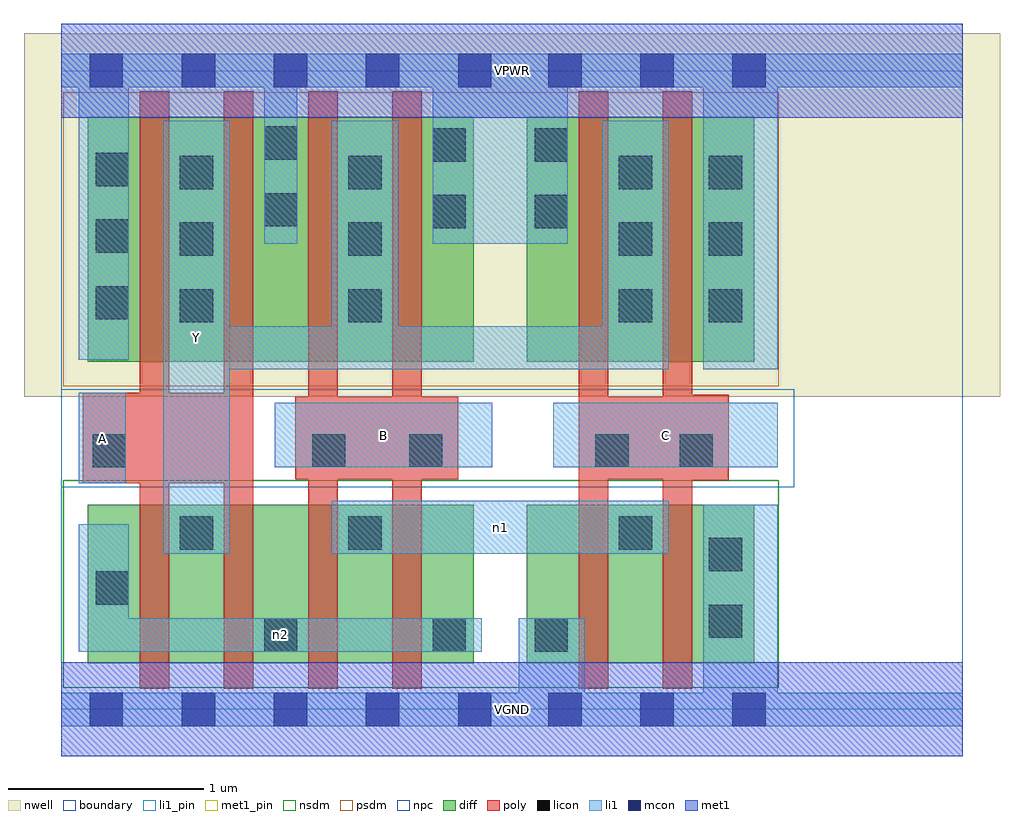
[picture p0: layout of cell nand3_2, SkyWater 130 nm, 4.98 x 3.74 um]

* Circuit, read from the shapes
.subckt nand3_2 A B C VGND VPWR Y n1 n2
XM1 Y A n2 VSUBS sky130_fd_pr__nfet_01v8 w=0.81 l=0.15 m=2
XM2 n1 B n2 VSUBS sky130_fd_pr__nfet_01v8 w=0.81 l=0.15 m=2
XM3 n1 C VGND VSUBS sky130_fd_pr__nfet_01v8 w=0.81 l=0.15 m=2
XM4 Y A VPWR n3 sky130_fd_pr__pfet_01v8 w=1.25 l=0.15 m=2
XM5 Y B VPWR n3 sky130_fd_pr__pfet_01v8 w=1.25 l=0.15 m=2
XM6 Y C VPWR n3 sky130_fd_pr__pfet_01v8 w=1.25 l=0.15 m=2
.ends

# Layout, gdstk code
import gdstk
lib = gdstk.Library(unit=1e-6, precision=1e-09)
def R(c, l, rs):  # rectangles x0, y0, x1, y1
    for r in rs: c.add(gdstk.rectangle(r[:2], r[2:], *l))
def A(c, l, x, y, w, h, nx, ny, dx, dy):  # array of equal rectangles
    R(c, l, [(x+i*dx, y+j*dy, x+i*dx+w, y+j*dy+h) for i in range(nx) for j in range(ny)])
nwell = (64, 20)
diff = (65, 20)
poly = (66, 20)
licon = (66, 44)
li1_pin = (67, 16)
li1 = (67, 20)
mcon = (67, 44)
met1_pin = (68, 16)
met1 = (68, 20)
nsdm = (93, 44)
psdm = (94, 20)
npc = (95, 20)
boundary = (235, 4)

nand3_2 = lib.new_cell('nand3_2')
R(nand3_2, nwell, [(-0.19,1.595,4.79,3.45), (0,1.595,4.6,3.45)])
R(nand3_2, diff, [(0.135,0.235,2.105,1.045), (2.375,0.235,3.535,1.045), (0.135,1.775,2.105,3.025), (2.375,1.775,3.535,3.025)])
A(nand3_2, poly, 0.4, 0.105, 0.15, 3.05, 4, 1, 0.43, 0)
R(nand3_2, poly, [(2.64,0.105,2.79,3.155), (3.07,0.105,3.22,3.155), (0.11,1.155,0.98,1.615), (3.07,1.17,3.405,1.605), (1.195,1.175,2.025,1.595), (2.64,1.175,3.405,1.595)])
A(nand3_2, licon, 0.605, 1.975, 0.17, 0.17, 1, 3, 0, 0.34)
A(nand3_2, licon, 1.465, 1.975, 0.17, 0.17, 1, 3, 0, 0.34)
A(nand3_2, licon, 2.845, 1.975, 0.17, 0.17, 1, 3, 0, 0.34)
A(nand3_2, licon, 3.305, 1.975, 0.17, 0.17, 1, 3, 0, 0.34)
A(nand3_2, licon, 0.175, 1.99, 0.17, 0.17, 1, 3, 0, 0.34)
R(nand3_2, licon, [(1.035,0.295,1.205,0.465), (1.895,0.295,2.065,0.465), (2.415,0.295,2.585,0.465), (3.305,0.365,3.475,0.535), (0.175,0.535,0.345,0.705), (3.305,0.705,3.475,0.875), (0.605,0.815,0.775,0.985), (1.465,0.815,1.635,0.985), (2.845,0.815,3.015,0.985), (0.16,1.235,0.33,1.405), (1.28,1.235,1.45,1.405), (1.775,1.235,1.945,1.405), (2.725,1.235,2.895,1.405), (3.155,1.235,3.325,1.405), (1.895,2.455,2.065,2.625), (2.415,2.455,2.585,2.625), (1.035,2.465,1.205,2.635), (1.895,2.795,2.065,2.965), (2.415,2.795,2.585,2.965), (1.035,2.805,1.205,2.975)])
R(nand3_2, li1_pin, [(0.52,0.795,0.86,3.005), (0.09,1.155,0.33,1.615), (1.09,1.235,2.2,1.565), (2.51,1.235,3.655,1.565)])
R(nand3_2, li1, [(0,-0.085,4.6,0.085), (2.335,-0.085,2.67,0.465), (3.275,-0.085,3.655,1.045), (0.09,0.295,2.145,0.465), (0.09,0.295,0.345,0.945), (0.52,0.795,0.86,3.005), (1.38,0.795,3.1,1.065), (0.09,1.155,0.33,1.615), (1.09,1.235,2.2,1.565), (2.51,1.235,3.655,1.565), (0.52,1.735,3.1,1.955), (1.38,1.735,1.72,3.005), (2.76,1.735,3.1,3.005), (3.275,1.735,3.655,3.345), (0.09,1.785,0.345,3.345), (1.035,2.375,1.205,3.345), (1.895,2.375,2.585,3.345), (0,3.175,4.6,3.345)])
A(nand3_2, mcon, 0.145, -0.085, 0.17, 0.17, 5, 2, 0.47, 3.26)
A(nand3_2, mcon, 2.485, -0.085, 0.17, 0.17, 3, 2, 0.47, 3.26)
R(nand3_2, met1_pin, [(0,-0.24,4.6,0.24), (0,3.02,4.6,3.5)])
R(nand3_2, met1, [(0,-0.24,4.6,0.24), (0,3.02,4.6,3.5)])
R(nand3_2, nsdm, [(0.01,0.11,3.66,1.17)])
R(nand3_2, psdm, [(0.01,1.65,3.66,3.15)])
R(nand3_2, npc, [(0,1.135,3.74,1.635)])
R(nand3_2, boundary, [(0,0,4.6,3.26)])
nand3_2.add(gdstk.Label('A', (0.21,1.385), layer=67, texttype=5))
nand3_2.add(gdstk.Label('B', (1.645,1.4), layer=67, texttype=5))
nand3_2.add(gdstk.Label('C', (3.082,1.4), layer=67, texttype=5))
nand3_2.add(gdstk.Label('Y', (0.69,1.9), layer=67, texttype=5))
nand3_2.add(gdstk.Label('n2', (1.117,0.38), layer=67, texttype=5))
nand3_2.add(gdstk.Label('n1', (2.24,0.93), layer=67, texttype=5))
nand3_2.add(gdstk.Label('VPWR', (2.3,3.26), layer=68, texttype=5))
nand3_2.add(gdstk.Label('VGND', (2.3,0), layer=68, texttype=5))
nand3_2.add(gdstk.Label('A', (0.21,1.385), layer=67, texttype=16))
nand3_2.add(gdstk.Label('B', (1.645,1.4), layer=67, texttype=16))
nand3_2.add(gdstk.Label('C', (3.082,1.4), layer=67, texttype=16))
nand3_2.add(gdstk.Label('Y', (0.69,1.9), layer=67, texttype=16))
nand3_2.add(gdstk.Label('VPWR', (2.3,3.26), layer=68, texttype=16))
nand3_2.add(gdstk.Label('VGND', (2.3,0), layer=68, texttype=16))

lib.write_gds('nand3_2.gds')
